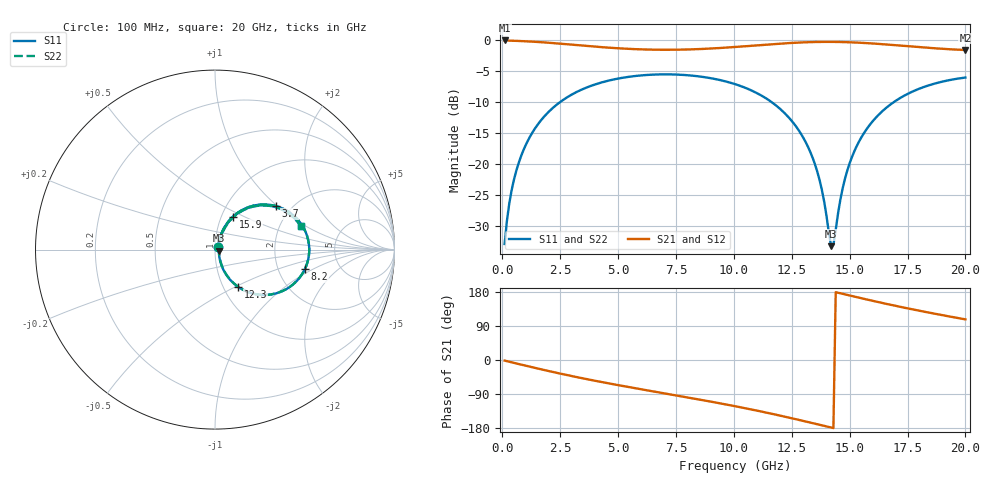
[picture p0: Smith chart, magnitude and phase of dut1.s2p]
! Touchstone file exported from HFSS 2026.1.0
!  File:  C:/ffzhzh/LocalFiles/Ansys_Project_Files/temp_val_TSV_RDL_1_1782975126_45308.aedt
!  Generated:  03:00:36 PM Jul  2, 2026
!  Design:  TSV_RDL
!  Project:  temp_val_TSV_RDL_1_1782975126_45308
! Variables:
!  h_bsmrdl = 5.52um
!  h_ox = 20um
!  h_rdl = 5um
!  h_sub = 53.21um
!  h_tmrdl = 3.34um
!  h_tsv = 53.21um
!  h_via = 3um
!  l_bsmrdl = 277.17um
!  l_sub = 4469.85um
!  l_tmrdl = 778.16um
!  m_sub = 200um
!  pitch = 54.3um
!  r_tsv = 13.48um
!  s_tmrdl = 10um
!  w_bsmrdl = 13.76um
!  w_sub = 500um
!  w_tmrdl = 28.14um
!  x_tsv_center1 = 792.23um
!  x_tsv_center2 = 1083.16um
!  x_tsv_center3 = 1889.46um
!  x_tsv_center4 = 2180.39um
!  x_tsv_center5 = 2986.69um
!  x_tsv_center6 = 3277.62um
# GHz S MA R 50.000000
! Terminal data exported
! Port[1] = TM_RDL1_1_T1
! Port[2] = TM_RDL5_1_T1
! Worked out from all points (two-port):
!   200 points, 100 MHz to 20 GHz, reference 50 ohm
!   highest |S21| = -0.15 dB at 100 MHz (marker M1); lowest = -1.7 dB at 20 GHz (marker M2)
!   |S21| within 3 dB of the highest: start of sweep to end of sweep
!   lowest |S11| = -33.2 dB at 14.2 GHz (marker M3), VSWR 1.04, Z = 52.2 - j0.581 ohm
!   |S11| at or under -10 dB: start of sweep to 2.515 GHz; 11.61 GHz to 16.93 GHz (5.32 GHz wide, 37.3 % of centre)
!   |S22| runs from -32.9 to -5.6 dB; largest |S21 - S12| = 1.6e-14
!   S11 on the Smith chart (normalised r, x): 100 MHz: 1.03, +0.03; 3.7 GHz: 1.66, +0.98; 8.2 GHz: 2.83, -0.83; 12.3 GHz: 1.17, -0.52; 15.9 GHz: 1.14, +0.44; 20 GHz: 2.60, +0.90
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0.1  0.02273 41.3  0.9832 -1.6  0.9832 -1.6  0.02273 41.3
! Gamma 0 0 0 0
! Port Impedance 50 0 50 0
0.3  0.04794 62.7  0.9805 -4.6  0.9805 -4.6  0.04794 62.7
0.5  0.07432 67.3  0.9773 -7.6  0.9773 -7.6  0.07432 67.3
1.1  0.1533 65.9  0.9665 -16.4  0.9665 -16.4  0.1533 65.9
2.1  0.2732 54.9  0.9396 -30.4  0.9396 -30.4  0.2732 55.0
3.5  0.4013 38.1  0.8929 -48.7  0.8929 -48.7  0.4013 38.1
3.7  0.4156 35.8  0.8864 -51.1  0.8864 -51.1  0.4156 35.8
6.8  0.5246 2.3  0.8278 -85.9  0.8278 -85.9  0.5246 2.4
8.2  0.5128 -12.1  0.8341 -100.9  0.8341 -100.9  0.5128 -12.1
10.1  0.4353 -32.7  0.8726 -122.5  0.8726 -122.5  0.4353 -32.6
12.3  0.2445 -58.2  0.9347 -150.9  0.9347 -150.9  0.2446 -58.0
13.4  0.1125 -67.6  0.9545 -166.5  0.9545 -166.5  0.1127 -66.9
13.8  0.06215 -64.2  0.9575 -172.3  0.9575 -172.3  0.06262 -63.1
14.2  0.02184 -14.8  0.9579 -178.2  0.9579 -178.2  0.02321 -13.8
14.3  0.02242 18.5  0.9575 -179.6  0.9575 -179.6  0.02376 17.4
14.6  0.05161 60.4  0.9556 176.0  0.9556 176.0  0.05222 59.0
14.9  0.08866 66.5  0.9522 171.7  0.9522 171.7  0.08903 65.6
15.3  0.1384 65.9  0.9457 165.9  0.9457 165.9  0.1386 65.3
15.9  0.2096 60.7  0.9321 157.5  0.9321 157.5  0.2098 60.3
16.7  0.2944 51.8  0.9093 146.6  0.9093 146.6  0.2945 51.5
18.2  0.4151 34.7  0.8634 127.7  0.8634 127.7  0.4152 34.5
20  0.4947 15.4  0.8237 107.2  0.8237 107.2  0.4948 15.3
